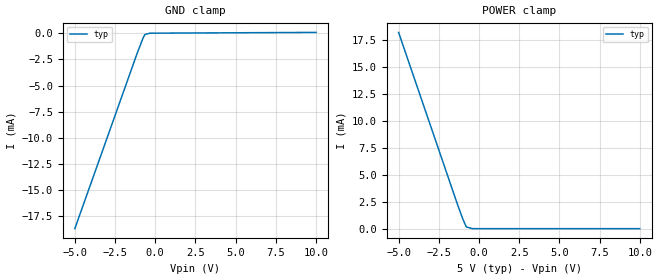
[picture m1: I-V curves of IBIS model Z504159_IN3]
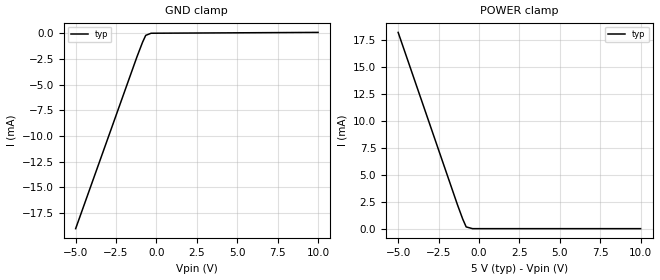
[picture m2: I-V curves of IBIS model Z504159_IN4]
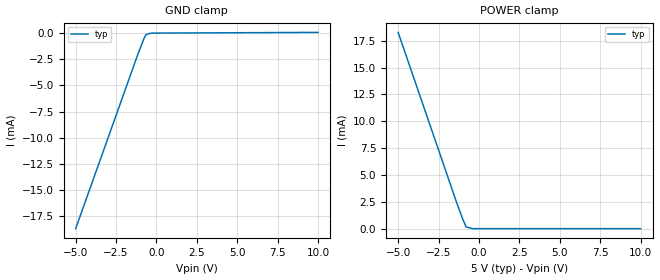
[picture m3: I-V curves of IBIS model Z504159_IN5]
| YOU ARE ONLY AUTHORIZED TO USE THIS SOFTWARE
| ACCORDING TO LICENSOR'S LICENSE RESTRICTIONS.
[IBIS Ver] 3.1
[File Name] mc74hc154n.ibs
[File Rev] 2.0
[Source] Measured and created by ICX Technology
[Date] Friday 7/14/00 9:08:08 AM
[Copyright]
| (C) COPYRIGHT 1993-2000
| MENTOR GRAPHICS CORPORATION
| ICX STANDARD LIBRARY, ICX PROJECT MODELING,
| ICX CUSTOM MODELING, ICX VENDOR MODEL
| ALL RIGHTS RESERVED.
| THE FOLLOWING ARE TRADEMARKS OR SERVICE MARKS OF
| MENTOR GRAPHICS CORPORATION:ICX (R), ICX STANDARD
| LIBRARY(R), ICX PROJECT MODELING(R), ICX CUSTOM
| MODELING(R), qualityIBIS(TM), MODELVIEWER(TM),
| AND MODELEDITOR(TM)
| ALL COPIES OF SOFTWARE, INCLUDING BUT NOT LIMITED TO
| ANY MODIFICATIONS, ENHANCEMENTS OR DERIVATIVE WORKS,
| MUST CONTAIN ALL MENTOR GRAPHICS CORPORATION'S
| NOTICES AND LEGENDS, INCLUDING THOSE EMBEDDED IN
| SOFTWARE AND THOSE AFFIXED TO SOFTWARE MEDIUM
| AND CONTAINER, AS RECEIVED FROM MENTOR GRAPHICS
| CORPORATION.
|  ZAP Model Builder 2.7
[Component] MC74HC154N
[Manufacturer] OnSemiconductor
[Package]
| variable   typ   min   max
R_pkg  .22ohms NA NA
L_pkg  6.927nH NA NA
C_pkg  1.437pF NA NA
[Pin] signal_name  model_name  R_pin  L_pin C_pin
1 _Y0 Z504159_OUT1 .24 12.76n 2.162p
2 _Y1 Z504159_OUT1 .232 9.76n 1.872p
3 _Y2 Z504159_OUT1 .224 7.26n 1.582p
4 _Y3 Z504159_OUT1 .216 5.26n 1.292p
5 _Y4 Z504159_OUT1 .208 3.76n 1.002p
6 _Y5 Z504159_OUT1 .2 2.76n .712p
7 _Y6 Z504159_OUT1 .2 2.76n .712p
8 _Y7 Z504159_OUT1 .208 3.76n 1.002p
9 _Y8 Z504159_OUT2 .216 5.26n 1.292p
10 _Y9 Z504159_OUT2 .224 7.26n 1.582p
11 _Y10 Z504159_OUT2 .232 9.76n 1.872p
12 GND GND .24 12.76n 2.162p
13 _Y11 Z504159_OUT2 .24 12.76n 2.162p
14 _Y12 Z504159_OUT2 .232 9.76n 1.872p
15 _Y13 Z504159_OUT2 .224 7.26n 1.582p
16 _Y14 Z504159_OUT2 .216 5.26n 1.292p
17 _Y15 Z504159_OUT2 .208 3.76n 1.002p
18 _G1 Z504159_IN3 .2 2.76n .712p
19 _G2 Z504159_IN4 .2 2.76n .712p
20 D Z504159_IN5 .208 3.76n 1.002p
21 C Z504159_IN5 .216 5.26n 1.292p
22 B Z504159_IN5 .224 7.26n 1.582p
23 A Z504159_IN5 .232 9.76n 1.872p
24 VCC POWER .24 12.76n 2.162p
| Models and submodels in the file (5): Z504159_IN3 (Input), Z504159_IN4 (Input), Z504159_IN5 (Input), Z504159_OUT1 (Output), Z504159_OUT2 (Output)
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| (C) COPYRIGHT 1993-2000
| MENTOR GRAPHICS CORPORATION
| ICX STANDARD LIBRARY, ICX PROJECT MODELING,
| ICX CUSTOM MODELING, ICX VENDOR MODEL
| ALL RIGHTS RESERVED.
| THE FOLLOWING ARE TRADEMARKS OR SERVICE MARKS OF
| MENTOR GRAPHICS CORPORATION:ICX (R), ICX STANDARD
| LIBRARY(R), ICX PROJECT MODELING(R), ICX CUSTOM
| MODELING(R), qualityIBIS(TM), MODELVIEWER(TM),
| AND MODELEDITOR(TM)
| ALL COPIES OF SOFTWARE, INCLUDING BUT NOT LIMITED TO
| ANY MODIFICATIONS, ENHANCEMENTS OR DERIVATIVE WORKS,
| MUST CONTAIN ALL MENTOR GRAPHICS CORPORATION'S
| NOTICES AND LEGENDS, INCLUDING THOSE EMBEDDED IN
| SOFTWARE AND THOSE AFFIXED TO SOFTWARE MEDIUM
| AND CONTAINER, AS RECEIVED FROM MENTOR GRAPHICS
| CORPORATION.
| Model Application Version 1.89 2/18/99.
[Model] Z504159_IN3
Model_type Input
Vinl = 1.500V
Vinh = 3.500V
C_comp 4.000pF NA NA
| variable typ   min   max
[Voltage Range] 5.000V NA NA
[GND Clamp Reference] 0.000V NA NA
[POWER Clamp Reference] 5.000V NA NA
[GND Clamp]
-5V       -18.67mA   NA         NA
-1.13V    -1.948mA   NA         NA
-766.4mV  -501.2uA   NA         NA
-645mV    -131.9uA   NA         NA
-322.5mV  -605.3nA   NA         NA
10V       74.25uA    NA         NA
[POWER Clamp]
-5V       18.19mA    NA         NA
-1.328V   2.207mA    NA         NA
-1.003V   886uA      NA         NA
-791mV    162.4uA    NA         NA
-395.5mV  0A         NA         NA
10V       0A         NA         NA
| (C) COPYRIGHT 1993-2000
| MENTOR GRAPHICS CORPORATION
| ICX STANDARD LIBRARY, ICX PROJECT MODELING,
| ICX CUSTOM MODELING, ICX VENDOR MODEL
| ALL RIGHTS RESERVED.
| THE FOLLOWING ARE TRADEMARKS OR SERVICE MARKS OF
| MENTOR GRAPHICS CORPORATION:ICX (R), ICX STANDARD
| LIBRARY(R), ICX PROJECT MODELING(R), ICX CUSTOM
| MODELING(R), qualityIBIS(TM), MODELVIEWER(TM),
| AND MODELEDITOR(TM)
| ALL COPIES OF SOFTWARE, INCLUDING BUT NOT LIMITED TO
| ANY MODIFICATIONS, ENHANCEMENTS OR DERIVATIVE WORKS,
| MUST CONTAIN ALL MENTOR GRAPHICS CORPORATION'S
| NOTICES AND LEGENDS, INCLUDING THOSE EMBEDDED IN
| SOFTWARE AND THOSE AFFIXED TO SOFTWARE MEDIUM
| AND CONTAINER, AS RECEIVED FROM MENTOR GRAPHICS
| CORPORATION.
| Model Application Version 1.89 2/18/99.
[Model] Z504159_IN4
Model_type Input
Vinl = 1.500V
Vinh = 3.500V
C_comp 4.000pF NA NA
| variable typ   min   max
[Voltage Range] 5.000V NA NA
[GND Clamp Reference] 0.000V NA NA
[POWER Clamp Reference] 5.000V NA NA
[GND Clamp]
-5V       -19.03mA   NA         NA
-1.206V   -2.298mA   NA         NA
-859.3mV  -877uA     NA         NA
-664.2mV  -211.2uA   NA         NA
-332.1mV  -5.108uA   NA         NA
10V       77.23uA    NA         NA
[POWER Clamp]
-5V       18.22mA    NA         NA
-1.328V   2.209mA    NA         NA
-1.003V   884.7uA    NA         NA
-791mV    162.5uA    NA         NA
-395.5mV  0A         NA         NA
10V       0A         NA         NA
| (C) COPYRIGHT 1993-2000
| MENTOR GRAPHICS CORPORATION
| ICX STANDARD LIBRARY, ICX PROJECT MODELING,
| ICX CUSTOM MODELING, ICX VENDOR MODEL
| ALL RIGHTS RESERVED.
| THE FOLLOWING ARE TRADEMARKS OR SERVICE MARKS OF
| MENTOR GRAPHICS CORPORATION:ICX (R), ICX STANDARD
| LIBRARY(R), ICX PROJECT MODELING(R), ICX CUSTOM
| MODELING(R), qualityIBIS(TM), MODELVIEWER(TM),
| AND MODELEDITOR(TM)
| ALL COPIES OF SOFTWARE, INCLUDING BUT NOT LIMITED TO
| ANY MODIFICATIONS, ENHANCEMENTS OR DERIVATIVE WORKS,
| MUST CONTAIN ALL MENTOR GRAPHICS CORPORATION'S
| NOTICES AND LEGENDS, INCLUDING THOSE EMBEDDED IN
| SOFTWARE AND THOSE AFFIXED TO SOFTWARE MEDIUM
| AND CONTAINER, AS RECEIVED FROM MENTOR GRAPHICS
| CORPORATION.
| Model Application Version 1.89 2/18/99.
[Model] Z504159_IN5
Model_type Input
Vinl = 1.500V
Vinh = 3.500V
C_comp 4.000pF NA NA
| variable typ   min   max
[Voltage Range] 5.000V NA NA
[GND Clamp Reference] 0.000V NA NA
[POWER Clamp Reference] 5.000V NA NA
[GND Clamp]
-5V       -18.7mA    NA         NA
-1.131V   -1.944mA   NA         NA
-766.2mV  -497.7uA   NA         NA
-645.4mV  -131.1uA   NA         NA
-322.7mV  2.644uA    NA         NA
10V       71.36uA    NA         NA
[POWER Clamp]
-5V       18.27mA    NA         NA
-1.426V   2.624mA    NA         NA
-1.003V   882.8uA    NA         NA
-791mV    161.8uA    NA         NA
-395.5mV  0A         NA         NA
10V       0A         NA         NA
